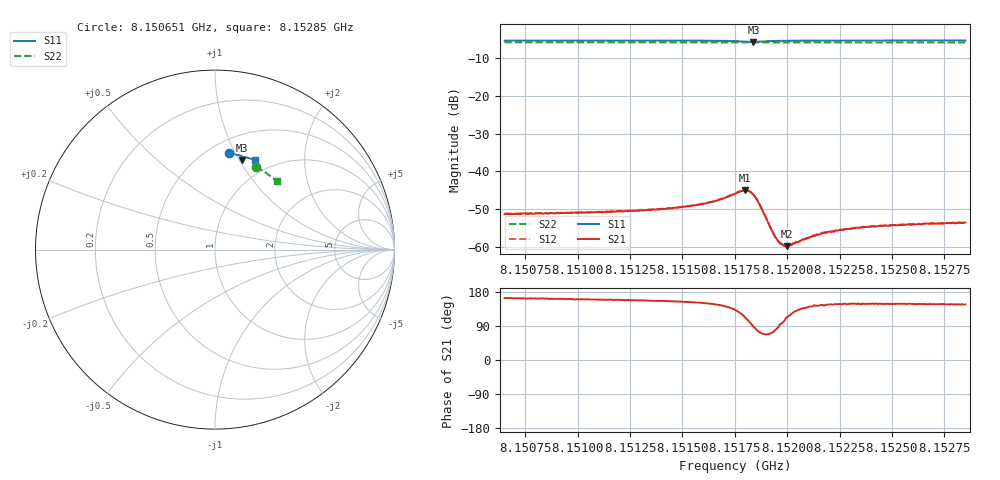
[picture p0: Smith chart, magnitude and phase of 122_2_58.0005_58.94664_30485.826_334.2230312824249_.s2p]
#  HZ  S  RI  R  50.00
! Rohde & Schwarz Vector Network Analyzer
! Rohde-Schwarz,ZNB20-2Port,1311601062101988,3.16
! Created: UTC 3/21/2024, 12:55:45 AM
! freq[Hz]  re:S11  im:S11  re:S21  im:S21  re:S12  im:S12  re:S22  im:S22
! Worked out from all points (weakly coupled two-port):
!   401 points, 8.150651 GHz to 8.15285 GHz, reference 50 ohm
!   highest |S21| = -45.02 dB at 8.1518 GHz (marker M1); lowest = -59.8 dB at 8.151998 GHz (marker M2)
!   lowest |S11| = -5.7 dB at 8.151839 GHz (marker M3), VSWR 3.18, Z = 37.5 + j51.4 ohm
!   |S11| at or under -10 dB: nowhere
!   |S22| runs from -5.8 to -5.8 dB; largest |S21 - S12| = 0.00014
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8.1506514e9  0.0782 0.5363  -0.0026 0.000782  -0.00266 0.000835  0.2284 0.4617
8.1510197e9  0.1042 0.5325  -0.00266 0.000949  -0.00269 0.00105  0.2493 0.4501
8.151388e9  0.1307 0.5267  -0.00291 0.0013  -0.00285 0.00134  0.2696 0.4377
8.1515199e9  0.1409 0.5239  -0.00308 0.00154  -0.00308 0.00159  0.2769 0.4329
8.1516079e9  0.1482 0.5212  -0.00325 0.00189  -0.00323 0.00197  0.2816 0.4297
8.1516738e9  0.1541 0.5178  -0.00343 0.0024  -0.00348 0.00247  0.285 0.4274
8.1517508e9  0.1603 0.5101  -0.00343 0.00374  -0.00338 0.00388  0.2889 0.4241
8.1518003e9  0.1589 0.5012  -0.00211 0.0052  -0.00206 0.00525  0.2913 0.4222
8.1518223e9  0.1544 0.4989  -0.000835 0.00532  -0.00075 0.00539  0.2921 0.4213
8.1518388e9  0.1503 0.4994  0.000143 0.0049  0.000208 0.00495  0.2926 0.4208
8.1518662e9  0.1467 0.5046  0.00104 0.00359  0.0011 0.00363  0.2941 0.4203
8.1519432e9  0.1533 0.5148  0.000254 0.00132  0.000292 0.00132  0.2985 0.4174
8.1519542e9  0.1547 0.5152  0.000114 0.0012  0.000123 0.00121  0.299 0.4171
8.1519762e9  0.1572 0.5159  -0.000143 0.00106  -0.000122 0.00107  0.3001 0.4163
8.1519982e9  0.1596 0.5162  -0.000398 0.000944  -0.000377 0.000978  0.3012 0.4154
8.1520476e9  0.1647 0.516  -0.000753 0.000877  -0.000735 0.000876  0.3039 0.4135
8.1521191e9  0.1709 0.515  -0.00109 0.000866  -0.0011 0.000884  0.3077 0.4108
8.1521796e9  0.1759 0.5141  -0.00124 0.000881  -0.00129 0.000903  0.3107 0.4082
8.152273e9  0.183 0.512  -0.00146 0.000895  -0.00144 0.000934  0.3154 0.4044
8.1523665e9  0.1898 0.51  -0.00156 0.000976  -0.00156 0.001  0.3201 0.4008
8.1524874e9  0.198 0.5072  -0.00164 0.00103  -0.00161 0.00103  0.3258 0.3958
8.1528502e9  0.2222 0.4979  -0.00176 0.00116  -0.00173 0.00116  0.3432 0.3803
